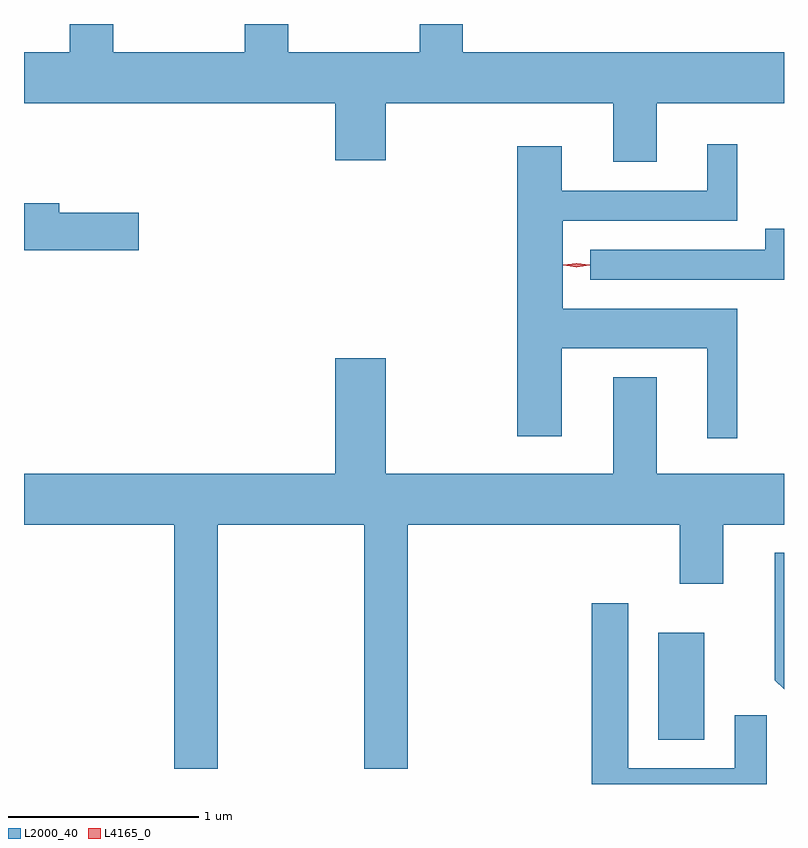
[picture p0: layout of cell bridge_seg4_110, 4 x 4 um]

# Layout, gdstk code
import gdstk
lib = gdstk.Library(unit=1e-6, precision=1e-09)
def R(c, l, rs):  # rectangles x0, y0, x1, y1
    for r in rs: c.add(gdstk.rectangle(r[:2], r[2:], *l))
def P(c, l, *ps):  # polygons
    for p in ps: c.add(gdstk.Polygon(p, *l))
L2000_40 = (2000, 40)
L4165_0 = (4165, 0)

bridge_seg4_110 = lib.new_cell('bridge_seg4_110')
R(bridge_seg4_110, L2000_40, [(916.076,1331.346,916.319,1331.909)])
P(bridge_seg4_110, L2000_40, [(916.069,1334.696),(916.739,1334.696),(916.739,1334.964),(915.049,1334.964),(915.049,1335.112),(914.821,1335.112),(914.821,1334.964),(914.129,1334.964),(914.129,1335.112),(913.901,1335.112),(913.901,1334.964),(913.209,1334.964),(913.209,1335.112),(912.981,1335.112),(912.981,1334.964),(912.739,1334.964),(912.739,1334.696),(914.376,1334.696),(914.376,1334.396),(914.644,1334.396),(914.644,1334.696),(915.841,1334.696),(915.841,1334.386),(916.069,1334.386)],
  [(916.494,1333.614),(915.574,1333.614),(915.574,1334.076),(916.494,1334.076),(916.494,1334.478),(916.336,1334.478),(916.336,1334.234),(915.569,1334.234),(915.569,1334.469),(915.336,1334.469),(915.336,1332.941),(915.569,1332.941),(915.569,1333.406),(916.336,1333.406),(916.336,1332.933),(916.494,1332.933)],
  [(913.344,1334.119),(912.924,1334.119),(912.924,1334.169),(912.739,1334.169),(912.739,1333.921),(913.344,1333.921)],
  [(916.739,1334.034),(916.641,1334.034),(916.641,1333.924),(915.718,1333.924),(915.718,1333.766),(916.739,1333.766)],
  [(913.759,1332.476),(914.531,1332.476),(914.531,1331.191),(914.759,1331.191),(914.759,1332.476),(916.191,1332.476),(916.191,1332.166),(916.419,1332.166),(916.419,1332.476),(916.739,1332.476),(916.739,1332.744),(916.069,1332.744),(916.069,1333.254),(915.841,1333.254),(915.841,1332.744),(914.644,1332.744),(914.644,1333.354),(914.376,1333.354),(914.376,1332.744),(912.739,1332.744),(912.739,1332.476),(913.531,1332.476),(913.531,1331.191),(913.759,1331.191)],
  [(916.739,1332.328),(916.691,1332.328),(916.691,1331.659),(916.739,1331.611)],
  [(916.649,1331.473),(916.481,1331.473),(916.481,1331.194),(915.919,1331.194),(915.919,1332.064),(915.726,1332.064),(915.726,1331.112),(916.649,1331.112)])
P(bridge_seg4_110, L4165_0, [(915.647,1333.833),(915.578,1333.843),(915.577,1333.843),(915.578,1333.844),(915.647,1333.853),(915.716,1333.844),(915.716,1333.843),(915.716,1333.843)],
  [(915.646,1333.833),(915.58,1333.843),(915.58,1333.843),(915.58,1333.844),(915.646,1333.853),(915.712,1333.844),(915.713,1333.843),(915.712,1333.843)])

lib.write_gds('bridge_seg4_110.gds')
